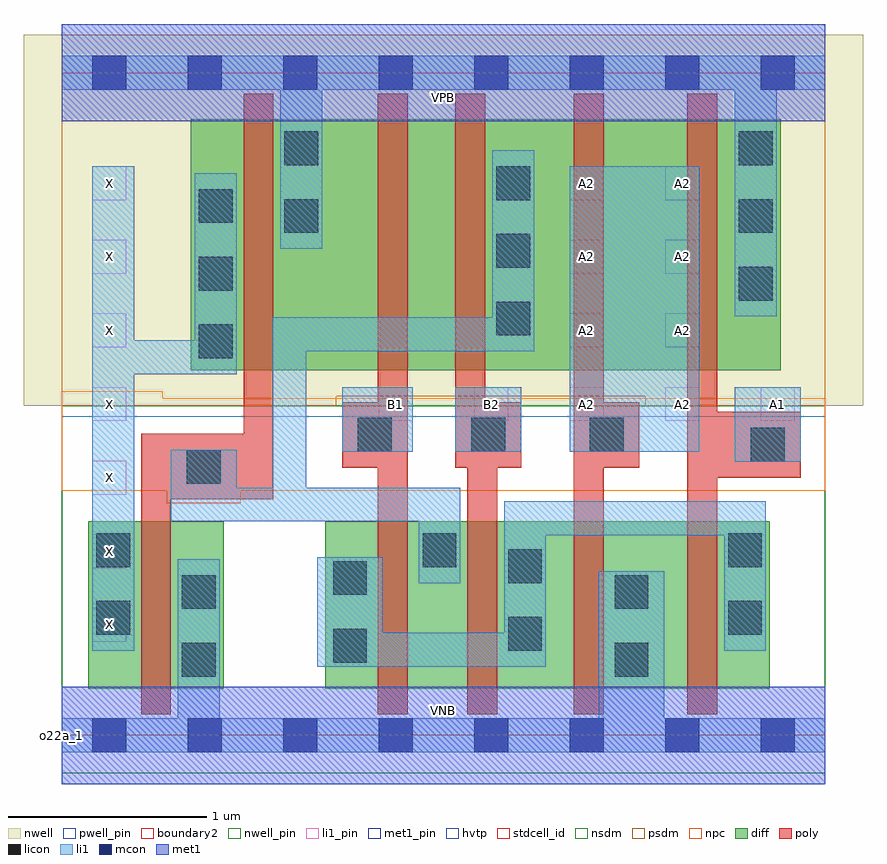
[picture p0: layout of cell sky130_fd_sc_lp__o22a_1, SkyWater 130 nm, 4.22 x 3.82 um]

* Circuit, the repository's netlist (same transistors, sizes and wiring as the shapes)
* Copyright 2020 The SkyWater PDK Authors
*
* Licensed under the Apache License, Version 2.0 (the "License");
* you may not use this file except in compliance with the License.
* You may obtain a copy of the License at
*
*     https://www.apache.org/licenses/LICENSE-2.0
*
* Unless required by applicable law or agreed to in writing, software
* distributed under the License is distributed on an "AS IS" BASIS,
* WITHOUT WARRANTIES OR CONDITIONS OF ANY KIND, either express or implied.
* See the License for the specific language governing permissions and
* limitations under the License.
*
* SPDX-License-Identifier: Apache-2.0

.SUBCKT sky130_fd_sc_lp__o22a_1 A1 A2 B1 B2 VGND VNB VPB VPWR X
*.PININFO A1:I A2:I B1:I B2:I VGND:I VNB:I VPB:I VPWR:I X:O
MMPA0 VPWR A1 sndA1 VPB sky130_fd_pr__pfet_01v8_hvt m=1 w=1.26U l=0.15U mult=1
+ sa=0.265 sb=0.265 sd=0.28 area=0.063 perim=1.14
MMPA1 sndA1 A2 y VPB sky130_fd_pr__pfet_01v8_hvt m=1 w=1.26U l=0.15U mult=1 sa=0.265
+ sb=0.265 sd=0.28 area=0.063 perim=1.14
MMPB0 VPWR B1 sndB1 VPB sky130_fd_pr__pfet_01v8_hvt m=1 w=1.26U l=0.15U mult=1
+ sa=0.265 sb=0.265 sd=0.28 area=0.063 perim=1.14
MMPB1 sndB1 B2 y VPB sky130_fd_pr__pfet_01v8_hvt m=1 w=1.26U l=0.15U mult=1 sa=0.265
+ sb=0.265 sd=0.28 area=0.063 perim=1.14
MMIPX X y VPWR VPB sky130_fd_pr__pfet_01v8_hvt m=1 w=1.26U l=0.15U mult=1 sa=0.265
+ sb=0.265 sd=0.28 area=0.063 perim=1.14
MMNA0 pndA A1 VGND VNB sky130_fd_pr__nfet_01v8 m=1 w=0.84U l=0.15U mult=1 sa=0.265
+ sb=0.265 sd=0.28 area=0.063 perim=1.14
MMNA1 pndA A2 VGND VNB sky130_fd_pr__nfet_01v8 m=1 w=0.84U l=0.15U mult=1 sa=0.265
+ sb=0.265 sd=0.28 area=0.063 perim=1.14
MMNB0 y B1 pndA VNB sky130_fd_pr__nfet_01v8 m=1 w=0.84U l=0.15U mult=1 sa=0.265
+ sb=0.265 sd=0.28 area=0.063 perim=1.14
MMNB1 y B2 pndA VNB sky130_fd_pr__nfet_01v8 m=1 w=0.84U l=0.15U mult=1 sa=0.265
+ sb=0.265 sd=0.28 area=0.063 perim=1.14
MMINX X y VGND VNB sky130_fd_pr__nfet_01v8 m=1 w=0.84U l=0.15U mult=1 sa=0.265
+ sb=0.265 sd=0.28 area=0.063 perim=1.14
.ENDS sky130_fd_sc_lp__o22a_1

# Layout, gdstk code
import gdstk
lib = gdstk.Library(unit=1e-6, precision=1e-09)
def R(c, l, rs):  # rectangles x0, y0, x1, y1
    for r in rs: c.add(gdstk.rectangle(r[:2], r[2:], *l))
def A(c, l, x, y, w, h, nx, ny, dx, dy):  # array of equal rectangles
    R(c, l, [(x+i*dx, y+j*dy, x+i*dx+w, y+j*dy+h) for i in range(nx) for j in range(ny)])
def P(c, l, *ps):  # polygons
    for p in ps: c.add(gdstk.Polygon(p, *l))
nwell_pin = (64, 16)
nwell = (64, 20)
diff = (65, 20)
poly = (66, 20)
licon = (66, 44)
li1_pin = (67, 16)
li1 = (67, 20)
mcon = (67, 44)
met1_pin = (68, 16)
met1 = (68, 20)
hvtp = (78, 44)
stdcell_id = (81, 4)
nsdm = (93, 44)
psdm = (94, 20)
npc = (95, 20)
pwell_pin = (122, 16)
boundary2 = (236, 0)

sky130_fd_sc_lp__o22a_1 = lib.new_cell('sky130_fd_sc_lp__o22a_1')
R(sky130_fd_sc_lp__o22a_1, nwell_pin, [(0,3.085,3.84,3.33)])
R(sky130_fd_sc_lp__o22a_1, nwell, [(-0.19,1.655,4.03,3.52)])
R(sky130_fd_sc_lp__o22a_1, diff, [(0.135,0.235,0.815,1.075), (1.325,0.235,3.56,1.075), (0.65,1.835,3.615,3.095)])
P(sky130_fd_sc_lp__o22a_1, poly, [(1.065,3.225),(0.915,3.225),(0.915,1.515),(0.4,1.515),(0.4,0.105),(0.55,0.105),(0.55,1.185),(1.065,1.185)],
  [(1.74,3.225),(1.59,3.225),(1.59,1.675),(1.41,1.675),(1.41,1.345),(1.59,1.345),(1.59,0.105),(1.74,0.105)],
  [(2.31,1.675),(2.13,1.675),(2.13,3.225),(1.98,3.225),(1.98,1.345),(2.04,1.345),(2.04,0.105),(2.19,0.105),(2.19,1.345),(2.31,1.345)],
  [(2.905,1.675),(2.725,1.675),(2.725,3.225),(2.575,3.225),(2.575,0.105),(2.725,0.105),(2.725,1.345),(2.905,1.345)],
  [(3.715,1.625),(3.295,1.625),(3.295,3.225),(3.145,3.225),(3.145,0.105),(3.295,0.105),(3.295,1.295),(3.715,1.295)])
A(sky130_fd_sc_lp__o22a_1, licon, 0.69, 1.895, 0.17, 0.17, 1, 3, 0, 0.34)
A(sky130_fd_sc_lp__o22a_1, licon, 2.185, 2.01, 0.17, 0.17, 1, 3, 0, 0.34)
A(sky130_fd_sc_lp__o22a_1, licon, 3.405, 2.185, 0.17, 0.17, 1, 3, 0, 0.34)
R(sky130_fd_sc_lp__o22a_1, licon, [(0.605,0.295,0.775,0.465), (2.78,0.295,2.95,0.465), (1.365,0.365,1.535,0.535), (2.245,0.425,2.415,0.595), (0.175,0.505,0.345,0.675), (3.35,0.505,3.52,0.675), (0.605,0.635,0.775,0.805), (2.78,0.635,2.95,0.805), (1.365,0.705,1.535,0.875), (2.245,0.765,2.415,0.935), (0.175,0.845,0.345,1.015), (1.815,0.845,1.985,1.015), (3.35,0.845,3.52,1.015), (0.63,1.265,0.8,1.435), (3.465,1.375,3.635,1.545), (1.49,1.425,1.66,1.595), (2.06,1.425,2.23,1.595), (2.655,1.425,2.825,1.595), (1.12,2.525,1.29,2.695), (1.12,2.865,1.29,3.035)])
A(sky130_fd_sc_lp__o22a_1, li1_pin, 0.155, 0.47, 0.17, 0.17, 1, 7, 0, 0.37)
A(sky130_fd_sc_lp__o22a_1, li1_pin, 1.595, 1.58, 0.17, 0.17, 5, 1, 0.48, 0)
A(sky130_fd_sc_lp__o22a_1, li1_pin, 2.555, 1.95, 0.17, 0.17, 1, 3, 0, 0.37)
A(sky130_fd_sc_lp__o22a_1, li1_pin, 3.035, 1.95, 0.17, 0.17, 1, 3, 0, 0.37)
R(sky130_fd_sc_lp__o22a_1, li1, [(3.385,1.375,3.715,1.75), (1.41,1.425,1.765,1.75), (1.98,1.425,2.31,1.75), (2.555,1.425,3.205,2.86)])
P(sky130_fd_sc_lp__o22a_1, li1, [(3.385,2.105),(3.385,3.245),(1.31,3.245),(1.31,2.445),(1.1,2.445),(1.1,3.245),(0,3.245),(0,3.415),(3.84,3.415),(3.84,3.245),(3.595,3.245),(3.595,2.105)],
  [(2.7,0.085),(2.7,0.825),(3.03,0.825),(3.03,0.085),(3.84,0.085),(3.84,-0.085),(0,-0.085),(0,0.085),(0.585,0.085),(0.585,0.885),(0.795,0.885),(0.795,0.085)],
  [(0.155,0.425),(0.155,2.86),(0.365,2.86),(0.365,1.985),(0.67,1.985),(0.67,2.825),(0.88,2.825),(0.88,1.815),(0.365,1.815),(0.365,0.425)],
  [(1.06,2.1),(2.165,2.1),(2.165,2.94),(2.375,2.94),(2.375,1.93),(1.23,1.93),(1.23,1.245),(2.005,1.245),(2.005,0.765),(1.795,0.765),(1.795,1.075),(0.55,1.075),(0.55,1.435),(0.88,1.435),(0.88,1.245),(1.06,1.245)],
  [(3.33,1.005),(2.435,1.005),(2.435,0.345),(1.285,0.345),(1.285,0.895),(1.615,0.895),(1.615,0.515),(2.225,0.515),(2.225,1.175),(3.54,1.175),(3.54,0.425),(3.33,0.425)])
A(sky130_fd_sc_lp__o22a_1, mcon, 0.155, -0.085, 0.17, 0.17, 8, 2, 0.48, 3.33)
R(sky130_fd_sc_lp__o22a_1, met1_pin, [(0,0,3.84,0.245), (0,3.085,3.84,3.33)])
R(sky130_fd_sc_lp__o22a_1, met1, [(0,-0.245,3.84,0.245), (0,3.085,3.84,3.575)])
R(sky130_fd_sc_lp__o22a_1, hvtp, [(0,1.6,3.84,3.33)])
R(sky130_fd_sc_lp__o22a_1, stdcell_id, [(0,0,3.84,3.33)])
R(sky130_fd_sc_lp__o22a_1, nsdm, [(0,-0.19,3.84,1.655)])
P(sky130_fd_sc_lp__o22a_1, psdm, [(3.84,3.52),(0,3.52),(0,1.655),(1.38,1.655),(1.38,1.705),(2.935,1.705),(2.935,1.655),(3.84,1.655)])
P(sky130_fd_sc_lp__o22a_1, npc, [(3.84,1.695),(0.51,1.695),(0.51,1.73),(0,1.73),(0,1.23),(0.53,1.23),(0.53,1.165),(0.9,1.165),(0.9,1.23),(3.84,1.23)])
R(sky130_fd_sc_lp__o22a_1, pwell_pin, [(0,0,3.84,0.245)])
R(sky130_fd_sc_lp__o22a_1, boundary2, [(0,0,3.84,3.33)])
sky130_fd_sc_lp__o22a_1.add(gdstk.Label('VNB', (1.92,0.123), layer=64, texttype=59))
sky130_fd_sc_lp__o22a_1.add(gdstk.Label('VPB', (1.92,3.208), layer=64, texttype=5))
sky130_fd_sc_lp__o22a_1.add(gdstk.Label('o22a_1', (0,0), layer=83, texttype=44))
sky130_fd_sc_lp__o22a_1.add(gdstk.Label('VPWR', (1.92,3.208), layer=68, texttype=5))
sky130_fd_sc_lp__o22a_1.add(gdstk.Label('VGND', (1.92,0.123), layer=68, texttype=5))
sky130_fd_sc_lp__o22a_1.add(gdstk.Label('A2', (2.64,1.665), layer=67, texttype=5))
sky130_fd_sc_lp__o22a_1.add(gdstk.Label('A2', (2.64,2.035), layer=67, texttype=5))
sky130_fd_sc_lp__o22a_1.add(gdstk.Label('A2', (2.64,2.405), layer=67, texttype=5))
sky130_fd_sc_lp__o22a_1.add(gdstk.Label('A2', (2.64,2.775), layer=67, texttype=5))
sky130_fd_sc_lp__o22a_1.add(gdstk.Label('A2', (3.12,1.665), layer=67, texttype=5))
sky130_fd_sc_lp__o22a_1.add(gdstk.Label('A2', (3.12,2.035), layer=67, texttype=5))
sky130_fd_sc_lp__o22a_1.add(gdstk.Label('A2', (3.12,2.405), layer=67, texttype=5))
sky130_fd_sc_lp__o22a_1.add(gdstk.Label('A2', (3.12,2.775), layer=67, texttype=5))
sky130_fd_sc_lp__o22a_1.add(gdstk.Label('B2', (2.16,1.665), layer=67, texttype=5))
sky130_fd_sc_lp__o22a_1.add(gdstk.Label('X', (0.24,0.555), layer=67, texttype=5))
sky130_fd_sc_lp__o22a_1.add(gdstk.Label('X', (0.24,0.925), layer=67, texttype=5))
sky130_fd_sc_lp__o22a_1.add(gdstk.Label('X', (0.24,1.295), layer=67, texttype=5))
sky130_fd_sc_lp__o22a_1.add(gdstk.Label('X', (0.24,1.665), layer=67, texttype=5))
sky130_fd_sc_lp__o22a_1.add(gdstk.Label('X', (0.24,2.035), layer=67, texttype=5))
sky130_fd_sc_lp__o22a_1.add(gdstk.Label('X', (0.24,2.405), layer=67, texttype=5))
sky130_fd_sc_lp__o22a_1.add(gdstk.Label('X', (0.24,2.775), layer=67, texttype=5))
sky130_fd_sc_lp__o22a_1.add(gdstk.Label('A1', (3.6,1.665), layer=67, texttype=5))
sky130_fd_sc_lp__o22a_1.add(gdstk.Label('B1', (1.68,1.665), layer=67, texttype=5))

lib.write_gds('sky130_fd_sc_lp__o22a_1.gds')
